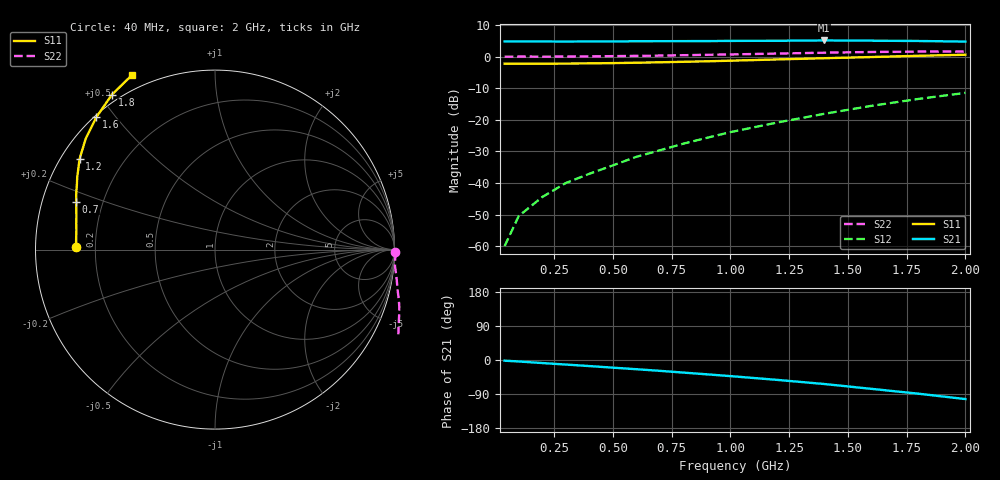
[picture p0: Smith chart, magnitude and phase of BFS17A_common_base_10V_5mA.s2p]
! Filename:  BFS17ACG.S2P  Version:  2.0
! Philips part #: BFS17A  Date: Jul 1990
! Bias condition: Vce=10V, Ic=5mA
! COMMON BASE
#  MHz  S  MA  R  50
! Freq  S11  S21  S12  S22
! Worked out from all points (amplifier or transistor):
!   16 points, 40 MHz to 2 GHz, reference 50 ohm
!   highest |S21| = 5.2 dB at 1.4 GHz (marker M1)
!   |S21| within 3 dB of that: start of sweep to end of sweep
!   unconditionally stable (mu >= 1): nowhere
!   at 200 MHz: K = -0.44, MSG = 24.6 dB, |S12| = -44.4 dB
!   at 800 MHz: K = -0.86, MSG = 16.2 dB, |S12| = -27.5 dB
!   at 2 GHz: K = -0.60, MSG = 8.1 dB, |S12| = -11.4 dB
!   S11 on the Smith chart (normalised r, x): 40 MHz: 0.13, +0.01; 700 MHz: 0.10, +0.17; 1.2 GHz: 0.05, +0.30; 1.6 GHz: 0.01, +0.45; 1.8 GHz: -0.02, +0.54; 2 GHz: -0.05, +0.63
40  0.776 178.8  1.752 -1.8  0.001 77.7  1.004 -0.8
100  0.775 177.2  1.75 -3.9  0.003 92.2  1.007 -1.5
200  0.777 174.4  1.748 -8.0  0.006 107.9  1.005 -3.5
300  0.78 171.9  1.744 -12.0  0.01 114.1  1.007 -5.3
400  0.787 169.3  1.749 -16.0  0.014 120.9  1.015 -7.1
500  0.794 166.5  1.752 -20.2  0.019 125.8  1.024 -8.9
600  0.805 163.8  1.762 -24.3  0.026 128.7  1.033 -10.8
700  0.818 160.9  1.766 -28.6  0.033 131.7  1.044 -12.8
800  0.833 158.2  1.77 -33.2  0.042 133.3  1.059 -14.9
900  0.848 155.2  1.773 -37.8  0.052 134.9  1.075 -17.2
1000  0.867 152.3  1.785 -42.5  0.064 135.2  1.089 -19.6
1200  0.908 146.2  1.794 -52.5  0.091 135.3  1.125 -24.8
1400  0.949 139.4  1.814 -63.4  0.125 133.0  1.161 -30.7
1600  0.991 131.8  1.799 -76.1  0.167 129.9  1.191 -37.5
1800  1.037 123.6  1.779 -88.9  0.215 124.8  1.209 -45.3
2000  1.077 115.4  1.74 -103.1  0.268 118.9  1.208 -54.3
